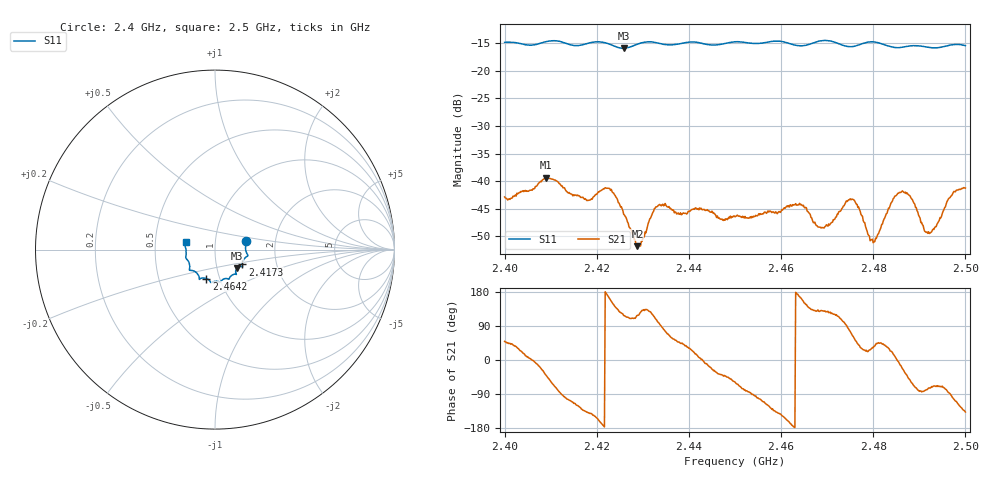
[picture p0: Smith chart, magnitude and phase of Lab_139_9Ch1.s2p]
# Hz S RI R 50
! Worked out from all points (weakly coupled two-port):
!   601 points, 2.4 GHz to 2.5 GHz, reference 50 ohm
!   highest |S21| = -39.37 dB at 2.409 GHz (marker M1); lowest = -51.8 dB at 2.4288 GHz (marker M2)
!   lowest |S11| = -15.9 dB at 2.4258 GHz (marker M3), VSWR 1.38, Z = 62.3 - j13.2 ohm
!   |S11| at or under -10 dB: start of sweep to end of sweep
!   S12 and S22 are empty: the file has one direction only
!   S11 on the Smith chart (normalised r, x): 2.4 GHz: 1.41, +0.14; 2.4173 GHz: 1.34, -0.23; 2.4642 GHz: 0.86, -0.29; 2.5 GHz: 0.72, +0.06
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2.4e9  0.1737 0.0491  0.00471 0.00544  0 0  0 0
2.409e9  0.1812 -0.0277  0.0082 -0.00696  0 0  0 0
2.416667e9  0.1534 -0.0751  -0.00454 -0.00551  0 0  0 0
2.417333e9  0.1525 -0.0825  -0.00476 -0.00493  0 0  0 0
2.422333e9  0.1492 -0.0945  -0.00852 0.00141  0 0  0 0
2.425833e9  0.1216 -0.1034  -0.00231 0.00445  0 0  0 0
2.428833e9  0.1154 -0.1301  -0.00121 0.00228  0 0  0 0
2.433333e9  0.1129 -0.1369  -0.000944 0.00595  0 0  0 0
2.437833e9  0.0833 -0.1535  0.00339 0.0037  0 0  0 0
2.441833e9  0.075 -0.1643  0.00545 0.00117  0 0  0 0
2.45e9  0.0293 -0.1804  0.00252 -0.00403  0 0  0 0
2.464167e9  -0.0482 -0.1611  -0.00591 0.00164  0 0  0 0
2.466667e9  -0.0759 -0.1593  -0.00318 0.00338  0 0  0 0
2.469667e9  -0.0878 -0.1661  -0.00237 0.00311  0 0  0 0
2.4755e9  -0.1108 -0.1228  0.00299 0.00618  0 0  0 0
2.479833e9  -0.1428 -0.114  0.0025 0.00163  0 0  0 0
2.483333e9  -0.1407 -0.0901  0.00489 0.00293  0 0  0 0
2.485167e9  -0.1454 -0.0704  0.00756 5.57e-05  0 0  0 0
2.487333e9  -0.1569 -0.0544  0.00594 -0.00512  0 0  0 0
2.492167e9  -0.1607 -0.0236  0.000954 -0.00322  0 0  0 0
2.497e9  -0.1694 0.0261  -0.000622 -0.00737  0 0  0 0
2.5e9  -0.1634 0.0415  -0.00636 -0.00588  0 0  0 0
